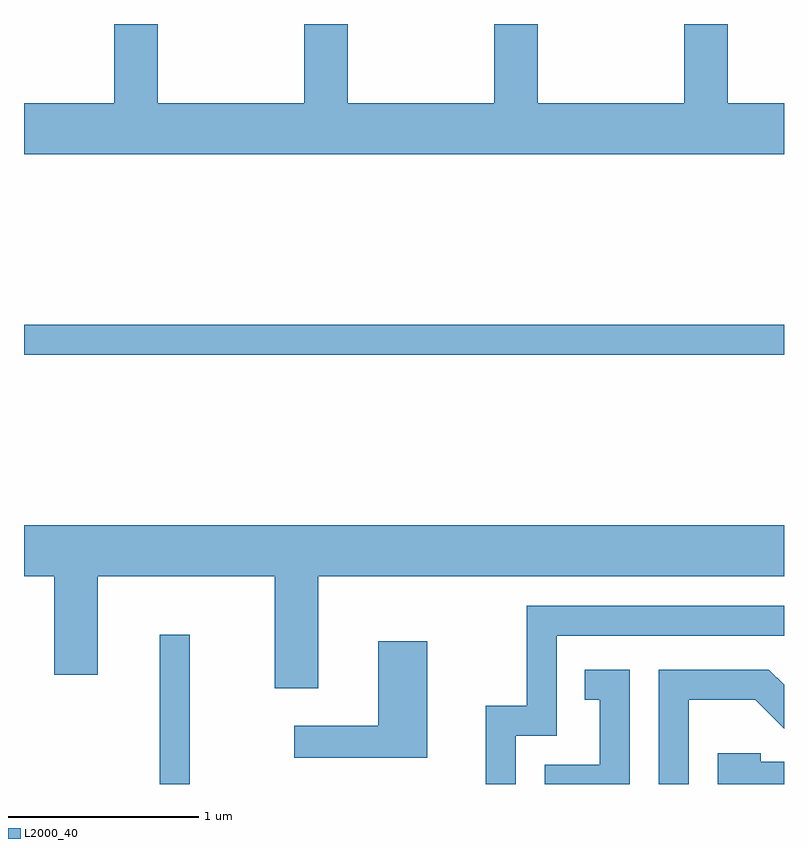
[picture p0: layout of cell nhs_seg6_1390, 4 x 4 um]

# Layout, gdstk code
import gdstk
lib = gdstk.Library(unit=1e-6, precision=1e-09)
def R(c, l, rs):  # rectangles x0, y0, x1, y1
    for r in rs: c.add(gdstk.rectangle(r[:2], r[2:], *l))
def P(c, l, *ps):  # polygons
    for p in ps: c.add(gdstk.Polygon(p, *l))
L2000_40 = (2000, 40)

nhs_seg6_1390 = lib.new_cell('nhs_seg6_1390')
R(nhs_seg6_1390, L2000_40, [(226.326,1662.162,226.484,1662.948), (225.611,1664.421,229.611,1664.579)])
P(nhs_seg6_1390, L2000_40, [(229.611,1665.744),(229.314,1665.744),(229.314,1666.162),(229.086,1666.162),(229.086,1665.744),(228.314,1665.744),(228.314,1666.162),(228.086,1666.162),(228.086,1665.744),(227.314,1665.744),(227.314,1666.162),(227.086,1666.162),(227.086,1665.744),(226.314,1665.744),(226.314,1666.162),(226.086,1666.162),(226.086,1665.744),(225.611,1665.744),(225.611,1665.476),(229.611,1665.476)],
  [(227.159,1663.256),(229.611,1663.256),(229.611,1663.524),(225.611,1663.524),(225.611,1663.256),(225.771,1663.256),(225.771,1662.736),(225.999,1662.736),(225.999,1663.256),(226.931,1663.256),(226.931,1662.666),(227.159,1662.666)],
  [(228.199,1662.416),(228.414,1662.416),(228.414,1662.941),(229.611,1662.941),(229.611,1663.099),(228.256,1663.099),(228.256,1662.574),(228.041,1662.574),(228.041,1662.162),(228.199,1662.162)],
  [(227.734,1662.914),(227.476,1662.914),(227.476,1662.469),(227.033,1662.469),(227.033,1662.301),(227.734,1662.301)],
  [(229.109,1662.606),(229.459,1662.606),(229.611,1662.454),(229.611,1662.685),(229.532,1662.764),(228.951,1662.764),(228.951,1662.162),(229.109,1662.162)],
  [(228.799,1662.764),(228.563,1662.764),(228.563,1662.606),(228.641,1662.606),(228.641,1662.264),(228.351,1662.264),(228.351,1662.162),(228.799,1662.162)],
  [(229.611,1662.279),(229.489,1662.279),(229.489,1662.324),(229.261,1662.324),(229.261,1662.162),(229.611,1662.162)])

lib.write_gds('nhs_seg6_1390.gds')
